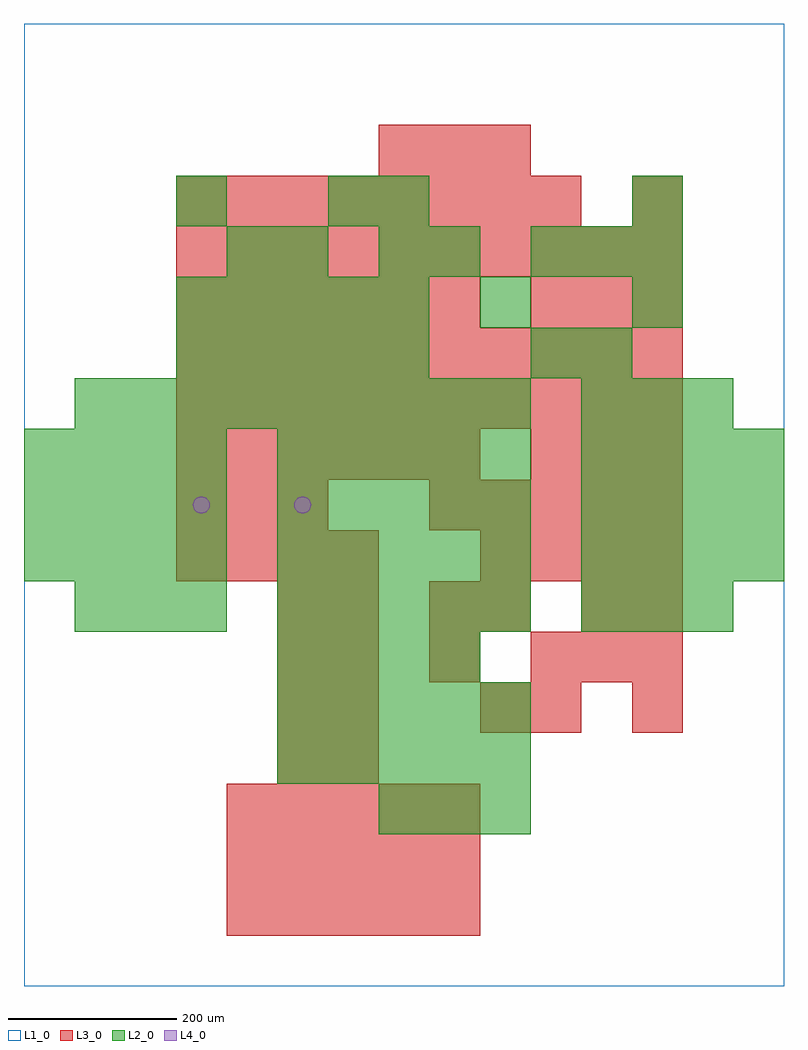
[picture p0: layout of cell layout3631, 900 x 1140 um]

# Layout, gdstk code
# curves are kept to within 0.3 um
import gdstk
lib = gdstk.Library(unit=1e-6, precision=1e-09)
def R(c, l, rs):  # rectangles x0, y0, x1, y1
    for r in rs: c.add(gdstk.rectangle(r[:2], r[2:], *l))
def A(c, l, x, y, w, h, nx, ny, dx, dy):  # array of equal rectangles
    R(c, l, [(x+i*dx, y+j*dy, x+i*dx+w, y+j*dy+h) for i in range(nx) for j in range(ny)])
def P(c, l, *ps):  # polygons
    for p in ps: c.add(gdstk.Polygon(p, *l))
L1_0 = (1, 0)
L2_0 = (2, 0)
L3_0 = (3, 0)
L4_0 = (4, 0)

layout3631 = lib.new_cell('layout3631')
R(layout3631, L1_0, [(0,0,900,1140)])
A(layout3631, L2_0, 420, 180, 60, 60, 3, 1, 60, 0)
A(layout3631, L2_0, 300, 240, 60, 60, 5, 2, 60, 60)
A(layout3631, L2_0, 300, 360, 60, 60, 4, 1, 60, 0)
A(layout3631, L2_0, 60, 420, 60, 60, 3, 1, 60, 0)
A(layout3631, L2_0, 300, 420, 60, 60, 5, 4, 60, 60)
A(layout3631, L2_0, 660, 420, 60, 60, 3, 2, 60, 240)
A(layout3631, L2_0, 0, 480, 60, 60, 4, 3, 60, 60)
A(layout3631, L2_0, 660, 480, 60, 60, 4, 3, 60, 60)
A(layout3631, L2_0, 60, 660, 60, 60, 9, 1, 60, 0)
A(layout3631, L2_0, 180, 720, 60, 60, 5, 2, 60, 60)
A(layout3631, L2_0, 600, 840, 60, 60, 3, 1, 60, 0)
R(layout3631, L2_0, [(600,720,660,780), (660,720,720,780), (540,780,600,840), (720,780,780,840), (240,840,300,900), (300,840,360,900), (420,840,480,900), (480,840,540,900), (180,900,240,960), (360,900,420,960), (420,900,480,960), (720,900,780,960)])
A(layout3631, L3_0, 240, 60, 60, 60, 5, 3, 60, 60)
A(layout3631, L3_0, 300, 240, 60, 60, 1, 4, 0, 60)
A(layout3631, L3_0, 720, 300, 60, 60, 1, 3, 0, 60)
A(layout3631, L3_0, 360, 360, 60, 60, 3, 1, 120, 0)
A(layout3631, L3_0, 180, 480, 60, 60, 4, 1, 60, 0)
A(layout3631, L3_0, 540, 480, 60, 60, 4, 1, 60, 0)
A(layout3631, L3_0, 180, 540, 60, 60, 3, 1, 60, 0)
A(layout3631, L3_0, 480, 540, 60, 60, 5, 1, 60, 0)
A(layout3631, L3_0, 180, 600, 60, 60, 6, 2, 60, 180)
A(layout3631, L3_0, 600, 600, 60, 60, 3, 2, 60, 180)
A(layout3631, L3_0, 180, 660, 60, 60, 10, 2, 60, 60)
A(layout3631, L3_0, 180, 840, 60, 60, 10, 1, 60, 0)
A(layout3631, L3_0, 180, 900, 60, 60, 8, 1, 60, 0)
A(layout3631, L3_0, 420, 960, 60, 60, 3, 1, 60, 0)
R(layout3631, L3_0, [(360,240,420,300), (360,300,420,360), (540,300,600,360), (600,300,660,360), (660,360,720,420), (360,420,420,480), (480,420,540,480), (540,420,600,480), (660,420,720,480), (720,900,780,960)])
P(layout3631, L4_0, [(220,570),(219.239,573.827),(217.071,577.071),(213.827,579.239),(210,580),(206.173,579.239),(202.929,577.071),(200.761,573.827),(200,570),(200.761,566.173),(202.929,562.929),(206.173,560.761),(210,560),(213.827,560.761),(217.071,562.929),(219.239,566.173)],
  [(340,570),(339.239,573.827),(337.071,577.071),(333.827,579.239),(330,580),(326.173,579.239),(322.929,577.071),(320.761,573.827),(320,570),(320.761,566.173),(322.929,562.929),(326.173,560.761),(330,560),(333.827,560.761),(337.071,562.929),(339.239,566.173)])

lib.write_gds('layout3631.gds')
